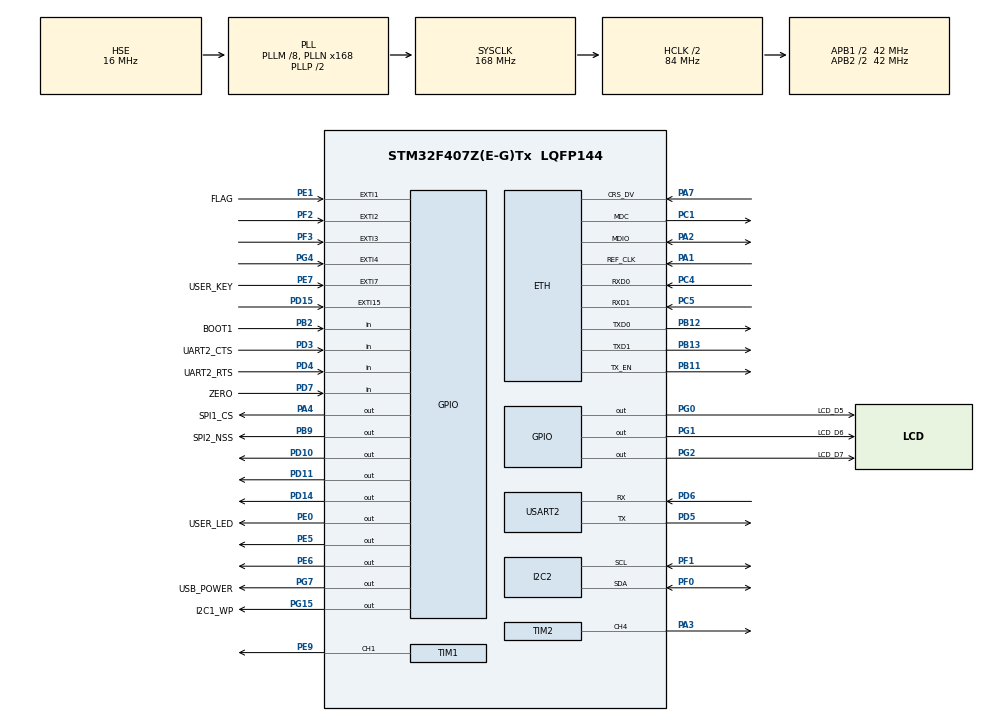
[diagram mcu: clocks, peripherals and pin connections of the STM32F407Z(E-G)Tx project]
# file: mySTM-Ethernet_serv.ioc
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ETH.MediaInterface=ETH_MEDIA_INTERFACE_RMII
ETH.PhyAddress=0
FREERTOS.INCLUDE_uxTaskGetStackHighWaterMark=1
FREERTOS.Tasks01=defaultTask,0,512,StartDefaultTask,Default,NULL,Dynamic,NULL,NULL
FREERTOS.configTOTAL_HEAP_SIZE=75000
LWIP.GATEWAY_ADDRESS=192.168.000.010
LWIP.IP_ADDRESS=192.168.000.188
LWIP.LWIP_DHCP=0
LWIP.LWIP_DNS=1
LWIP.LWIP_HTTPD=1
LWIP.MEMP_NUM_LOCALHOSTLIST=5
LWIP.MEMP_NUM_TCP_SEG=24
LWIP.NETMASK_ADDRESS=255.255.255.000
LWIP.TCP_MSS=460
LWIP.TCP_QUEUE_OOSEQ=1
LWIP.TCP_SND_BUF=1840
LWIP.TCP_WND=2048
LWIP.Version=v2.0.3_Cube
Mcu.Family=STM32F4
Mcu.Name=STM32F407Z(E-G)Tx
Mcu.Package=LQFP144
NVIC.ETH_IRQn=true\:5\:0\:false\:false\:true\:true\:false
NVIC.EXTI15_10_IRQn=true\:5\:0\:false\:false\:true\:true\:true
NVIC.EXTI1_IRQn=true\:5\:0\:true\:false\:true\:true\:true
NVIC.EXTI2_IRQn=true\:7\:0\:true\:false\:true\:true\:true
NVIC.EXTI3_IRQn=true\:6\:0\:true\:false\:true\:true\:true
NVIC.EXTI4_IRQn=true\:8\:0\:true\:false\:true\:true\:true
NVIC.EXTI9_5_IRQn=true\:5\:0\:true\:true\:true\:1\:true\:true
NVIC.PriorityGroup=NVIC_PRIORITYGROUP_4
NVIC.TIM7_IRQn=true\:0\:0\:false\:false\:true\:false\:false
NVIC.TimeBase=TIM7_IRQn
NVIC.TimeBaseIP=TIM7
PA1.Mode=RMII
PA1.Signal=ETH_REF_CLK
PA13.Mode=JTAG_5_pins
PA13.Signal=SYS_JTMS-SWDIO
PA14.Mode=JTAG_5_pins
PA14.Signal=SYS_JTCK-SWCLK
PA15.Mode=JTAG_5_pins
PA15.Signal=SYS_JTDI
PA2.Mode=RMII
PA2.Signal=ETH_MDIO
PA3.Signal=S_TIM2_CH4
PA4.GPIO_Label=SPI1_CS
PA4.Signal=GPIO_Output
PA7.Mode=RMII
PA7.Signal=ETH_CRS_DV
PB11.Mode=RMII
PB11.Signal=ETH_TX_EN
PB12.Mode=RMII
PB12.Signal=ETH_TXD0
PB13.Mode=RMII
PB13.Signal=ETH_TXD1
PB2.GPIO_Label=BOOT1
PB2.Signal=GPIO_Input
PB3.Mode=JTAG_5_pins
PB3.Signal=SYS_JTDO-SWO
PB4.Mode=JTAG_5_pins
PB4.Signal=SYS_JTRST
PB9.GPIO_Label=SPI2_NSS
PB9.Signal=GPIO_Output
PC1.Mode=RMII
PC1.Signal=ETH_MDC
PC4.Mode=RMII
PC4.Signal=ETH_RXD0
PC5.Mode=RMII
PC5.Signal=ETH_RXD1
PD10.GPIO_PuPd=GPIO_PULLUP
PD10.Signal=GPIO_Output
PD11.GPIO_PuPd=GPIO_PULLUP
PD11.Signal=GPIO_Output
PD14.GPIO_PuPd=GPIO_PULLUP
PD14.Signal=GPIO_Output
PD15.GPIO_ModeDefaultEXTI=GPIO_MODE_IT_FALLING
PD15.GPIO_PuPd=GPIO_PULLUP
PD15.Signal=GPXTI15
PD3.GPIO_Label=UART2_CTS
PD3.Signal=GPIO_Input
PD4.GPIO_Label=UART2_RTS
PD4.Signal=GPIO_Input
PD5.Mode=Asynchronous
PD5.Signal=USART2_TX
PD6.Mode=Asynchronous
PD6.Signal=USART2_RX
PD7.GPIO_Label=ZERO
PD7.Signal=GPIO_Input
PE0.GPIO_Label=USER_LED
PE0.PinState=GPIO_PIN_SET
PE0.Signal=GPIO_Output
PE1.GPIO_Label=FLAG
PE1.Signal=GPXTI1
PE5.Signal=GPIO_Output
PE6.Signal=GPIO_Output
PE7.GPIO_Label=USER_KEY
PE7.GPIO_PuPd=GPIO_PULLUP
PE7.Signal=GPXTI7
PE9.Signal=S_TIM1_CH1
PF0.Mode=I2C
PF0.Signal=I2C2_SDA
PF1.Mode=I2C
PF1.Signal=I2C2_SCL
PF2.Signal=GPXTI2
PF3.Signal=GPXTI3
PG0.GPIO_Label=LCD_D5
PG0.Signal=GPIO_Output
PG1.GPIO_Label=LCD_D6
PG1.Signal=GPIO_Output
PG15.GPIO_Label=I2C1_WP
PG15.GPIO_PuPd=GPIO_PULLUP
PG15.GPIO_Speed=GPIO_SPEED_FREQ_HIGH
PG15.PinState=GPIO_PIN_SET
PG15.Signal=GPIO_Output
PG2.GPIO_Label=LCD_D7
PG2.Signal=GPIO_Output
PG4.GPIO_PuPd=GPIO_NOPULL
PG4.Signal=GPXTI4
PG7.GPIO_Label=USB_POWER
PG7.Signal=GPIO_Output
PH0-OSC_IN.Mode=HSE-External-Oscillator
PH0-OSC_IN.Signal=RCC_OSC_IN
PH1-OSC_OUT.Mode=HSE-External-Oscillator
PH1-OSC_OUT.Signal=RCC_OSC_OUT
ProjectManager.HeapSize=0x2000
ProjectManager.StackSize=0x4000
ProjectManager.TargetToolchain=SW4STM32
RCC.48MHZClocksFreq_Value=48000000
RCC.AHBCLKDivider=RCC_SYSCLK_DIV2
RCC.AHBFreq_Value=84000000
RCC.APB1CLKDivider=RCC_HCLK_DIV2
RCC.APB1Freq_Value=42000000
RCC.APB1TimFreq_Value=84000000
RCC.APB2CLKDivider=RCC_HCLK_DIV2
RCC.APB2Freq_Value=42000000
RCC.APB2TimFreq_Value=84000000
RCC.CortexFreq_Value=84000000
RCC.HCLKFreq_Value=84000000
RCC.HSE_Timout=300
RCC.HSE_VALUE=16000000
RCC.HSI_VALUE=16000000
RCC.LSE_VALUE=32768
RCC.PLLM=8
RCC.PLLN=168
RCC.PLLQ=7
RCC.PLLSourceVirtual=RCC_PLLSOURCE_HSE
RCC.SYSCLKFreq_VALUE=168000000
RCC.SYSCLKSource=RCC_SYSCLKSOURCE_PLLCLK
RCC.VCOOutputFreq_Value=336000000
SH.S_TIM1_CH1.0=TIM1_CH1,PWM Generation1 CH1
SH.S_TIM2_CH4.0=TIM2_CH4,PWM Generation4 CH4
TIM1.Channel-PWM\ Generation1\ CH1=TIM_CHANNEL_1
TIM1.Period=20000
TIM1.Prescaler=83
TIM1.Pulse-PWM\ Generation1\ CH1=1000
TIM2.Channel-PWM\ Generation4\ CH4=TIM_CHANNEL_4
TIM2.Period=20000
TIM2.Prescaler=83
TIM2.Pulse-PWM\ Generation4\ CH4=800
TIM3.Period=400
TIM3.Prescaler=5376
USART2.VirtualMode=VM_ASYNC
VP_FREERTOS_VS_ENABLE.Mode=Enabled
VP_LWIP_VS_Enabled.Mode=Enabled
VP_SYS_VS_tim7.Mode=TIM7
VP_TIM3_VS_ClockSourceINT.Mode=Internal
board=mySTM-Ethernet

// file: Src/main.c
#include "main.h"
#include "stm32f4xx_hal.h"
#include "cmsis_os.h"
#include "i2c.h"
#include "lwip.h"
#include "tim.h"
#include "usart.h"
#include "gpio.h"

/* USER CODE BEGIN Includes */
#include "vl53l0x_api.h"
#include "math.h"
/* USER CODE END Includes */

/* USER CODE BEGIN PV */
/* Private variables ---------------------------------------------------------*/
VL53L0X_Dev_t	myDevStruct[3];
VL53L0X_DEV myDev;
/* USER CODE END PV */

void SystemClock_Config(void);
void MX_FREERTOS_Init(void);
static void MX_NVIC_Init(void);

/* USER CODE BEGIN PFP */
/* Private function prototypes -----------------------------------------------*/
/* USER CODE END PFP */

int main(void)
{

  /* MCU Configuration----------------------------------------------------------*/

  /* Reset of all peripherals, Initializes the Flash interface and the Systick. */
  HAL_Init();

  /* Configure the system clock */
  SystemClock_Config();

  /* Initialize all configured peripherals */
  MX_GPIO_Init();
  MX_TIM3_Init();
  MX_I2C2_Init();
  MX_USART2_UART_Init();
  MX_TIM2_Init();
  MX_TIM1_Init();

  /* Initialize interrupts */
  MX_NVIC_Init();
  /* USER CODE BEGIN 2 */
  vl53l0x_calibration();

  myDev=&myDevStruct[0];
   		VL53L0X_StartMeasurement(myDev);
   		VL53L0X_ClearInterruptMask(myDev, -1);
   		HAL_Delay(1);

 myDev=&myDevStruct[1];
   		VL53L0X_StartMeasurement(myDev);
   		VL53L0X_ClearInterruptMask(myDev, -1);
   		HAL_Delay(1);

 myDev=&myDevStruct[2];
     	VL53L0X_StartMeasurement(myDev);
     	VL53L0X_ClearInterruptMask(myDev, -1);
     	HAL_Delay(1);
 //-----------------------------------------------------------------------------------------------------------------------------------------------

  	  	  	  HAL_TIM_PWM_Start(&htim1, TIM_CHANNEL_1);
  	          HAL_TIM_PWM_Start(&htim2, TIM_CHANNEL_4);

  /* USER CODE END 2 */

  /* Call init function for freertos objects (in freertos.c) */
  MX_FREERTOS_Init();

  /* Start scheduler */
  osKernelStart();

  /* We should never get here as control is now taken by the scheduler */

  /* Infinite loop */
  while (1)
  {

  }

}

void SystemClock_Config(void)
{

  RCC_OscInitTypeDef RCC_OscInitStruct;
  RCC_ClkInitTypeDef RCC_ClkInitStruct;

    /**Configure the main internal regulator output voltage
    */
  __HAL_RCC_PWR_CLK_ENABLE();

  __HAL_PWR_VOLTAGESCALING_CONFIG(PWR_REGULATOR_VOLTAGE_SCALE1);

    /**Initializes the CPU, AHB and APB busses clocks
    */
  RCC_OscInitStruct.OscillatorType = RCC_OSCILLATORTYPE_HSE;
  RCC_OscInitStruct.HSEState = RCC_HSE_ON;
  RCC_OscInitStruct.PLL.PLLState = RCC_PLL_ON;
  RCC_OscInitStruct.PLL.PLLSource = RCC_PLLSOURCE_HSE;
  RCC_OscInitStruct.PLL.PLLM = 8;
  RCC_OscInitStruct.PLL.PLLN = 168;
  RCC_OscInitStruct.PLL.PLLP = RCC_PLLP_DIV2;
  RCC_OscInitStruct.PLL.PLLQ = 7;
  if (HAL_RCC_OscConfig(&RCC_OscInitStruct) != HAL_OK)
  {
    _Error_Handler(__FILE__, __LINE__);
  }

    /**Initializes the CPU, AHB and APB busses clocks
    */
  RCC_ClkInitStruct.ClockType = RCC_CLOCKTYPE_HCLK|RCC_CLOCKTYPE_SYSCLK
                              |RCC_CLOCKTYPE_PCLK1|RCC_CLOCKTYPE_PCLK2;
  RCC_ClkInitStruct.SYSCLKSource = RCC_SYSCLKSOURCE_PLLCLK;
  RCC_ClkInitStruct.AHBCLKDivider = RCC_SYSCLK_DIV2;
  RCC_ClkInitStruct.APB1CLKDivider = RCC_HCLK_DIV2;
  RCC_ClkInitStruct.APB2CLKDivider = RCC_HCLK_DIV2;

  if (HAL_RCC_ClockConfig(&RCC_ClkInitStruct, FLASH_LATENCY_2) != HAL_OK)
  {
    _Error_Handler(__FILE__, __LINE__);
  }

    /**Configure the Systick interrupt time
    */
  HAL_SYSTICK_Config(HAL_RCC_GetHCLKFreq()/1000);

    /**Configure the Systick
    */
  HAL_SYSTICK_CLKSourceConfig(SYSTICK_CLKSOURCE_HCLK);

  /* SysTick_IRQn interrupt configuration */
  HAL_NVIC_SetPriority(SysTick_IRQn, 15, 0);
}

/**
  * @brief NVIC Configuration.
  * @retval None
  */
static void MX_NVIC_Init(void)
{
  /* EXTI9_5_IRQn interrupt configuration */
  HAL_NVIC_SetPriority(EXTI9_5_IRQn, 5, 0);
  HAL_NVIC_EnableIRQ(EXTI9_5_IRQn);
}

void HAL_TIM_PeriodElapsedCallback(TIM_HandleTypeDef *htim)
{
  if (htim->Instance == TIM7) {
    HAL_IncTick();
  }
}

void _Error_Handler(char *file, int line)
{
  while(1)
  {
  }
}

/************************ (C) COPYRIGHT STMicroelectronics *****END OF FILE****/

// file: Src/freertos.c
/* USER CODE END Header */
#include "FreeRTOS.h"
#include "task.h"
#include "main.h"
#include "cmsis_os.h"
/* USER CODE BEGIN Includes */
#include "lwip/opt.h"
#include "lwip/arch.h"
#include "lwip/api.h"
#include "vl53l0x_api.h"
#include "stdlib.h"
/* USER CODE END Includes */
/* USER CODE BEGIN PD */
extern VL53L0X_Dev_t	myDevStruct[2];
extern VL53L0X_DEV myDev;
extern UART_HandleTypeDef huart2;
extern TIM_HandleTypeDef htim1;
extern TIM_HandleTypeDef htim2;
xSemaphoreHandle xBinarySemaphore1;
xSemaphoreHandle xBinarySemaphore2;
xSemaphoreHandle xBinarySemaphore3;
xSemaphoreHandle xBinarySemaphoreStop;
xSemaphoreHandle xBinarySemaphoreStart;
xQueueHandle xQueue;
xQueueHandle xQueueStart;
/* USER CODE END PD */
/* USER CODE BEGIN Variables */
typedef struct struct_conn_t {
  uint32_t conn;
  uint32_t buf;
} struct_conn;
struct_conn conn01;
//-----------------------------------------------------------------------------------------------------------------------------------------------

osThreadId Task01Handle, Task02Handle, Task03Handle,task_startHandle;
/* USER CODE END Variables */
osThreadId defaultTaskHandle;
/* USER CODE BEGIN FunctionPrototypes */
static void vHandlerTask1( void *pvParameters );
static void vHandlerTask2( void *pvParameters );
static void tcp_thread( void *pvParameters );
static void task_start(void *pvParameters);
static void task_stop(void *pvParameters);
static void task_servo(void *pvParameters);
/* USER CODE END FunctionPrototypes */

void StartDefaultTask(void const * argument);
extern void MX_LWIP_Init(void);
void MX_FREERTOS_Init(void); /* (MISRA C 2004 rule 8.1) */
//-----------------------------------------------------------------------------------------------------------------------------------------------

void MX_FREERTOS_Init(void) {
  /* definition and creation of defaultTask */
  osThreadDef(defaultTask, StartDefaultTask, osPriorityNormal, 0, 512);
  defaultTaskHandle = osThreadCreate(osThread(defaultTask), NULL);
  /* USER CODE BEGIN RTOS_THREADS */
  /* add threads, ... */
vSemaphoreCreateBinary( xBinarySemaphore1 );
vSemaphoreCreateBinary( xBinarySemaphore2 );
vSemaphoreCreateBinary( xBinarySemaphore3 );
vSemaphoreCreateBinary( xBinarySemaphoreStart );
vSemaphoreCreateBinary( xBinarySemaphoreStop );
xQueue = xQueueCreate(1, sizeof( int ) );
xQueueStart = xQueueCreate(1, sizeof( int ) );

if( xBinarySemaphore1 != NULL && xBinarySemaphore2 != NULL && xBinarySemaphore3 != NULL && xBinarySemaphoreStart != NULL && xBinarySemaphoreStop != NULL)
{
    osThreadDef(task_start, task_start, 2, 0, 400);
    task_startHandle = osThreadCreate(osThread(task_start), NULL);
}
vTaskStartScheduler();
  /* USER CODE END RTOS_THREADS */

}

//-----------------------------------------------------------------------------------------------------------------------------------------------

void StartDefaultTask(void const * argument)
{
  /* init code for LWIP */
  MX_LWIP_Init();
  /* USER CODE BEGIN StartDefaultTask */
struct netconn *conn;
err_t err;
ip_addr_t ServerIPaddr;
IP4_ADDR(&ServerIPaddr, 192, 168, 0, 189);
conn = netconn_new(NETCONN_TCP);
	if(conn!=NULL)
	{
		err = netconn_bind(conn, NULL, 4555);
	  	if (err == ERR_OK)
	  	{
	  		err = netconn_connect(conn, &ServerIPaddr, 5000);
	  		while(err!=ERR_OK)
	  		{
	  			netconn_delete(conn);
	  		    conn = netconn_new(NETCONN_TCP);
  		    	if(conn!=NULL)
  		    	{
	  		    	err = netconn_bind(conn, NULL, 4555);
  		    		if (err == ERR_OK)
	  		    	{
	  		    		err = netconn_connect(conn, &ServerIPaddr, 5000);
	  		    	}
  		    	}
	  		    vTaskDelay(10);
	  		}
	  		if (err==ERR_OK)
	  		{
				HAL_UART_Transmit(&huart2, "port listening\r\n", strlen("port listening\r\n"), 0x100);
				conn01.conn = conn;
				sys_thread_new("tcp_thread", tcp_thread, (void*)&conn01, 1500, osPriorityHigh );
			}
	  	}
		else
		{
			netconn_delete(conn);
		}
	}

  /* Infinite loop */
  for(;;)
  {
  	  osDelay(1);
  }

  /* USER CODE END StartDefaultTask */
}
//-----------------------------------------------------------------------------------------------------------------------------------------------

/* USER CODE BEGIN Application */

static void tcp_thread(void *arg)
{
HAL_UART_Transmit(&huart2, "TCP_THREAD\r\n", strlen("TCP_THREAD\r\n"), 0x100);
struct_conn *arg_conn;
struct netconn *conn;
err_t sent_err;
err_t ent_err;
arg_conn = (struct_conn*) arg;
conn = (void*)arg_conn->conn;
portBASE_TYPE xStatus;
int *buf;
int lReceivedValue;
static int i=1;
	HAL_SuspendTick();
    HAL_PWR_EnterSLEEPMode(PWR_MAINREGULATOR_ON, PWR_SLEEPENTRY_WFI); //go to sleep mode
    HAL_ResumeTick();
  	xStatus = xQueueReceive( xQueueStart, &lReceivedValue, portMAX_DELAY);
	sent_err=netconn_write(conn, "start", 5, NETCONN_COPY);
	sent_err=netconn_write(conn, "go!!!", 5, NETCONN_COPY);
		if (sent_err!=ERR_OK)
    	{
			netconn_delete(conn);
    	}
		else
		{
			sys_thread_new("task_stop", task_stop, (void*)conn, 2048, 3 );
			sys_thread_new("task_servo", task_servo, (void*)conn, 512, 1 );
			for(;;)
			{
				if (i==1)
				{
		    		xStatus = xQueueReceive( xQueue, &lReceivedValue, portMAX_DELAY);
	  		    	taskENTER_CRITICAL();
	  		    	HAL_UART_Transmit(&huart2, "can`t move\r\n", strlen("can`t move\r\n"), 0x100);
	  		    	buf=&lReceivedValue;
   					sent_err=netconn_write(conn, "stop!", 5, NETCONN_COPY);
   					if (sent_err!=ERR_OK)
	  		    	{
   						HAL_UART_Transmit(&huart2, "Send data fail\r\n", strlen("Send data fail\r\n"), 0x100);
	  		    	  	netconn_close(conn);
   				    }
   					taskEXIT_CRITICAL();
	  		    	i=2;
	  		    	}
				else if (i==2)
				{
					xStatus = xQueueReceive( xQueue, &lReceivedValue, 100/portTICK_RATE_MS);
	  		    	if (xStatus==errQUEUE_EMPTY)
	  		    	{
	  		    		taskENTER_CRITICAL();
	  		    		HAL_UART_Transmit(&huart2, "Let`s go\r\n", strlen("Let`s go\r\n"), 0x100);
	  		    		buf=&lReceivedValue;
	  		    		ent_err=netconn_write(conn, "go!!!", 5, NETCONN_COPY);
	  		    		if (sent_err!=ERR_OK)
	  		    		{
	  		    			HAL_UART_Transmit(&huart2, "Send data fail\r\n", strlen("Send data fail\r\n"), 0x100);
	  		    			netconn_close(conn);
	  		    		}
	  		    			i=1;
	  		  		    	taskEXIT_CRITICAL();
	  		    	}
	  		    	else if (xStatus==pdPASS)
	  		    	{
	  		    		continue;
	  		    	}
				}
			}
		}

}
//-----------------------------------------------------------------------------------------------------------------------------------------------

static void vHandlerTask1( void *pvParameters )
{
myDev=&myDevStruct[0];
uint8_t status;
static int j=0;
int lValueToSend;
portBASE_TYPE xStatus;
VL53L0X_RangingMeasurementData_t myRangingData;
	for( ;; )
  {
		myDev=&myDevStruct[0];
		xSemaphoreTake( xBinarySemaphore1, portMAX_DELAY );
		taskENTER_CRITICAL();
		myDev=&myDevStruct[0];
		if(j>=1)
		{
			VL53L0X_GetRangingMeasurementData(myDev, &myRangingData);
			lValueToSend=(int)myRangingData.RangeMilliMeter;
			xStatus = xQueueSendToBack( xQueue, &lValueToSend, 0 );
			j=2;
		}
		j++;
		VL53L0X_ClearInterruptMask(myDev, -1);
		taskEXIT_CRITICAL();
   }
}
//-----------------------------------------------------------------------------------------------------------------------------------------------

static void vHandlerTask2( void *pvParameters )
{
myDev=&myDevStruct[1];
uint8_t status;
static int j=0;
int lValueToSend;
portBASE_TYPE xStatus;
VL53L0X_RangingMeasurementData_t myRangingData;
	for( ;; )
  {
		myDev=&myDevStruct[1];
		xSemaphoreTake( xBinarySemaphore2, portMAX_DELAY);
		taskENTER_CRITICAL();
		myDev=&myDevStruct[1];
		if(j>=1)
		{
			VL53L0X_GetRangingMeasurementData(myDev, &myRangingData);
			lValueToSend=(int)myRangingData.RangeMilliMeter;
			xStatus = xQueueSendToBack( xQueue, &lValueToSend, 0 );
			j=2;
		}
		j++;
		VL53L0X_ClearInterruptMask(myDev, -1);
		taskEXIT_CRITICAL();
  }
}
//-----------------------------------------------------------------------------------------------------------------------------------------------

static void vHandlerTask3( void *pvParameters )
{
myDev=&myDevStruct[2];
uint8_t status;
static int j=0;
int lValueToSend;
portBASE_TYPE xStatus;
VL53L0X_RangingMeasurementData_t myRangingData;
	for( ;; )
	{
		myDev=&myDevStruct[2];
		xSemaphoreTake( xBinarySemaphore3, portMAX_DELAY );
		taskENTER_CRITICAL();
		myDev=&myDevStruct[2];
		if(j>=1)
		{
			VL53L0X_GetRangingMeasurementData(myDev, &myRangingData);
			lValueToSend=(int)myRangingData.RangeMilliMeter;
			xStatus = xQueueSendToBack( xQueue, &lValueToSend, 0 );
			j=2;
		}
		j++;
		VL53L0X_ClearInterruptMask(myDev, -1);
		taskEXIT_CRITICAL();
	}
}
//-----------------------------------------------------------------------------------------------------------------------------------------------

static void task_start(void *pVparametrs)
{
	int i=1;
	xSemaphoreTake(xBinarySemaphoreStart, 100);
	xSemaphoreTake(xBinarySemaphoreStart, portMAX_DELAY );
	HAL_NVIC_DisableIRQ(EXTI9_5_IRQn);
	HAL_UART_Transmit(&huart2, "enter to Start\r\n", strlen("enter to Start\r\n"), 0x100);
	osThreadDef(tsk01, vHandlerTask1, 1, 0, 350);
	Task01Handle = osThreadCreate(osThread(tsk01), NULL);
	osThreadDef(tsk02, vHandlerTask2, 1, 0, 350);
	Task02Handle = osThreadCreate(osThread(tsk02), NULL);
	osThreadDef(tsk03, vHandlerTask3, 1, 0, 350);
	Task02Handle = osThreadCreate(osThread(tsk03), NULL);
	xQueueSendToBack( xQueueStart, &i, 0 );
	HAL_NVIC_EnableIRQ(EXTI4_IRQn);
	HAL_NVIC_EnableIRQ(EXTI2_IRQn);
	HAL_NVIC_EnableIRQ(EXTI3_IRQn);
	osThreadTerminate(NULL);
		for(;;)
		{
		}
}
//-----------------------------------------------------------------------------------------------------------------------------------------------

static void task_stop(void *pVparametrs)

{
err_t err;
struct netconn *conn;
conn=(struct netconn *) pVparametrs;
xSemaphoreTake(xBinarySemaphoreStop, 100);
HAL_UART_Transmit(&huart2, "enter to Stop\r\n", strlen("enter to Stop\r\n"), 0x100);
xSemaphoreTake(xBinarySemaphoreStop, portMAX_DELAY );
err=netconn_write(conn, "emerg", 5, NETCONN_COPY);
netconn_close(conn);
netconn_delete(conn);
HAL_NVIC_DisableIRQ(EXTI4_IRQn);
HAL_NVIC_DisableIRQ(EXTI2_IRQn);
HAL_NVIC_DisableIRQ(EXTI3_IRQn);
osThreadTerminate(Task01Handle);
osThreadTerminate(Task02Handle);
osThreadTerminate(Task03Handle);
osThreadTerminate(tcp_thread);
osThreadTerminate(defaultTaskHandle);
osThreadTerminate(task_servo);
HAL_TIM_PWM_Stop(&htim1, TIM_CHANNEL_1);
HAL_TIM_PWM_Stop(&htim2, TIM_CHANNEL_4);
HAL_SuspendTick();
HAL_PWR_EnterSLEEPMode(PWR_MAINREGULATOR_ON, PWR_SLEEPENTRY_WFI);
  		      for(;;)
  		      {
  		      }
}
//-----------------------------------------------------------------------------------------------------------------------------------------------

static void task_servo(void *pVparametrs)
{
err_t recv_err;
struct netbuf *inbuf;
struct netconn *conn;
uint8_t* buf;
u16_t buflen;
conn=(struct netconn *) pVparametrs;
HAL_UART_Transmit(&huart2, "enter to servo\r\n", strlen("enter to servo\r\n"), 0x100);
		for(;;)
			{
				recv_err = netconn_recv(conn, &inbuf);
				if (recv_err == ERR_OK)
				{
				  if (netconn_err(conn) == ERR_OK)
				  {
				    netbuf_data(inbuf, (void**)&buf, &buflen);
				    if(buflen>1)
				    {
			    	HAL_UART_Transmit(&huart2, (uint8_t*)buf, 5, 0x100);
			    	TIM1->CCR1=1600;
			    	TIM2->CCR4=1600;
					vTaskDelay(2000);
					TIM1->CCR1=800;
					TIM2->CCR4=800;
					}
				  netbuf_delete(inbuf);
				  }
				}
			}
}
/* USER CODE END Application */

/************************ (C) COPYRIGHT STMicroelectronics *****END OF FILE****/
